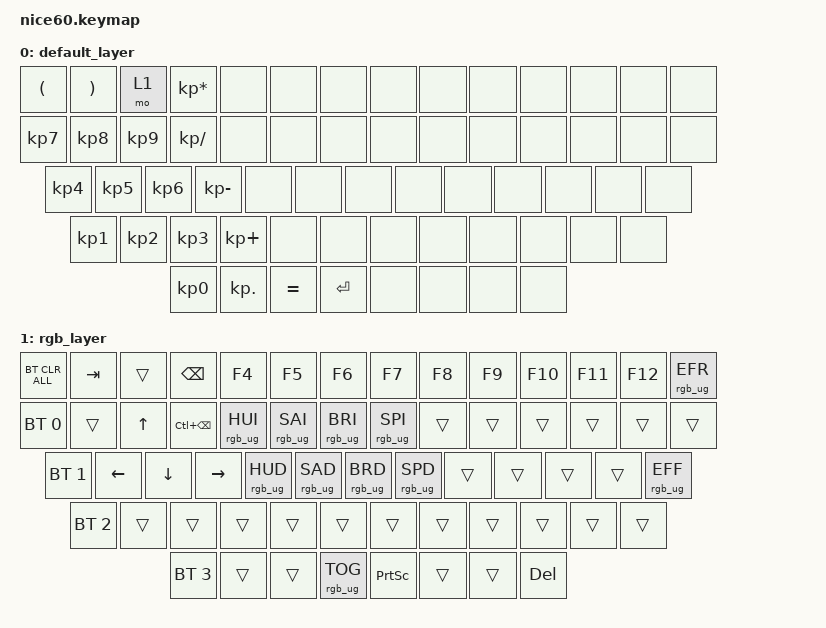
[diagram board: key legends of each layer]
/*
 * Copyright (c) 2021 Nick Winans
 *
 * SPDX-License-Identifier: MIT
 */

#include <behaviors.dtsi>
#include <dt-bindings/zmk/keys.h>
#include <dt-bindings/zmk/rgb.h>
#include <dt-bindings/zmk/bt.h>

/ {
    keymap {
        compatible = "zmk,keymap";

        default_layer {
// ------------------------------------------------------------------------------------------
// | ESC |  1  |  2  |  3  |  4  |  5  |  6  |  7  |  8  |  9  |  0  |  -  |  =  |   BSPC   |
// | TAB  |  Q  |  W  |  E  |  R  |  T  |  Y  |  U  |  I  |  O  |  P  |  [  |  ]  |   "|"   |
// | CAPS  |  A  |  S  |  D  |  F  |  G  |  H  |  J  |  K  |  L  |  ;  |  '  |     ENTER    |
// |  SHIFT  |  Z  |  X  |  C  |  V  |  B  |  N  |  M  |  ,  |  .  |  /  |      SHIFT       |
// |  CTL  |  WIN  |  ALT  |            SPACE              |  ALT  |  WIN  |  MO(1) |  CTL  |
// ------------------------------------------------------------------------------------------
            bindings = <
    &kp LPAR       &kp RPAR       &mo 1      &kp KP_MULTIPLY &none &none &none &none &none &none &none &none &none  &none
    &kp KP_N7      &kp KP_N8      &kp KP_N9      &kp KP_DIVIDE  &none  &none  &none  &none  &none  &none  &none  &none  &none  &none
    &kp KP_N4      &kp KP_N5      &kp KP_N6      &kp KP_MINUS  &none  &none  &none  &none  &none  &none  &none &none           &none
    &kp KP_N1      &kp KP_N2      &kp KP_N3      &kp KP_PLUS  &none  &none  &none  &none  &none &none &none           &none
    &kp KP_N0      &kp KP_DOT     &kp EQUAL      &kp ENTER  &none  &none  &none   &none
            >;
        };

        rgb_layer {
// ------------------------------------------------------------------------------------------------
// | BT CLR | F1  | F2  | F3  | F4  | F5  | F6  | F7  | F8  | F9  | F10  | F11 | F12 | EFFECT REV |
// |  BT 1   |   |  UP |   | HUEUP | SATUP | BRIUP | SPDUP |   |     |    |     |     |           |
// |   BT 2   | LT |  DN  | RT | HUEDN | SATDN | BRIDN | SPDDN |   |     |   |     |  EFFECT FORW |
// |    BT 3     |     |      |      |     |     |     |     |     |     |     |                  |
// |   BT 4  |      |      |             TOG RGB                | PRT SCR |       |       |  DEL  |
// ------------------------------------------------------------------------------------------------
            bindings = <
    &bt BT_CLR_ALL   &kp TAB    &trans    &kp BACKSPACE  &kp F4           &kp F5          &kp F6          &kp F7          &kp F8   &kp F9   &kp F10  &kp F11 &kp F12  &rgb_ug RGB_EFR
    &bt BT_SEL 0  &trans    &kp UP    &kp LC(BACKSPACE)  &rgb_ug RGB_HUI  &rgb_ug RGB_SAI &rgb_ug RGB_BRI &rgb_ug RGB_SPI  &trans   &trans   &trans   &trans  &trans          &trans
    &bt BT_SEL 1   &kp LEFT  &kp DOWN  &kp RIGHT &rgb_ug RGB_HUD &rgb_ug RGB_SAD &rgb_ug RGB_BRD &rgb_ug RGB_SPD &trans   &trans   &trans   &trans        &rgb_ug RGB_EFF
    &bt BT_SEL 2    &trans    &trans    &trans   &trans          &trans          &trans          &trans          &trans   &trans   &trans                          &trans
    &bt BT_SEL 3  &trans   &trans                            &rgb_ug RGB_TOG                                      &kp PSCRN      &trans      &trans               &kp DEL
            >;
        };
    };
};
